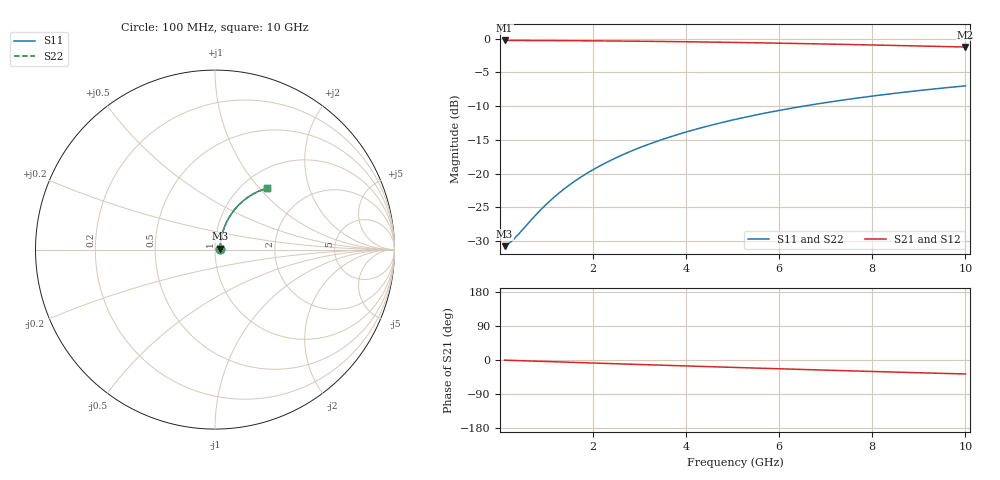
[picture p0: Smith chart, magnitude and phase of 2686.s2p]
# Hz S RI R 50.00
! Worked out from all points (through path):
!   100 points, 100 MHz to 10 GHz, reference 50 ohm
!   highest |S21| = -0.25 dB at 100 MHz (marker M1); lowest = -1.2 dB at 10 GHz (marker M2)
!   group delay of S21, straight-line fit = 10.3 ps
!   lowest |S11| = -30.8 dB at 100 MHz (marker M3), VSWR 1.06, Z = 52.9 + j0.527 ohm
!   |S11| at or under -10 dB: start of sweep to 6.525 GHz
!   |S22| runs from -30.8 to -7.0 dB; largest |S21 - S12| = 0
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1e8  0.0285 0.00497  0.9715 -0.00675  0.9715 -0.00675  0.0285 0.00497
2e8  0.0288 0.00994  0.9712 -0.0135  0.9712 -0.0135  0.0288 0.00994
3e8  0.0291 0.0149  0.9709 -0.0202  0.9709 -0.0202  0.0291 0.0149
4e8  0.0294 0.0199  0.9706 -0.027  0.9706 -0.027  0.0294 0.0199
8e8  0.0314 0.0396  0.9685 -0.0538  0.9685 -0.0538  0.0314 0.0396
1.1e9  0.0335 0.0543  0.9663 -0.0739  0.9663 -0.0739  0.0335 0.0543
1.4e9  0.0362 0.0689  0.9634 -0.0938  0.9634 -0.0938  0.0362 0.0689
1.6e9  0.0383 0.0785  0.9612 -0.107  0.9612 -0.107  0.0383 0.0785
1.8e9  0.0407 0.0881  0.9587 -0.1201  0.9587 -0.1201  0.0407 0.0881
2.1e9  0.0448 0.1022  0.9545 -0.1396  0.9545 -0.1396  0.0448 0.1022
2.5e9  0.051 0.1208  0.9479 -0.1653  0.9479 -0.1653  0.051 0.1208
2.9e9  0.0582 0.1388  0.9404 -0.1905  0.9404 -0.1905  0.0582 0.1388
3.4e9  0.0685 0.1607  0.9296 -0.2212  0.9296 -0.2212  0.0685 0.1607
3.8e9  0.0777 0.1775  0.9199 -0.2452  0.9199 -0.2452  0.0777 0.1775
4.2e9  0.0878 0.1937  0.9093 -0.2686  0.9093 -0.2686  0.0878 0.1937
4.6e9  0.0985 0.2092  0.898 -0.2912  0.898 -0.2912  0.0985 0.2092
5.1e9  0.113 0.2276  0.8827 -0.3186  0.8827 -0.3186  0.113 0.2276
5.9e9  0.1381 0.2545  0.8561 -0.3599  0.8561 -0.3599  0.1381 0.2545
6.7e9  0.1653 0.2781  0.8273 -0.398  0.8273 -0.398  0.1653 0.2781
7.5e9  0.194 0.2985  0.7967 -0.4329  0.7967 -0.4329  0.194 0.2985
8.4e9  0.2276 0.3175  0.7607 -0.4682  0.7607 -0.4682  0.2276 0.3175
1e10  0.289 0.3411  0.6943 -0.5212  0.6943 -0.5212  0.289 0.3411
